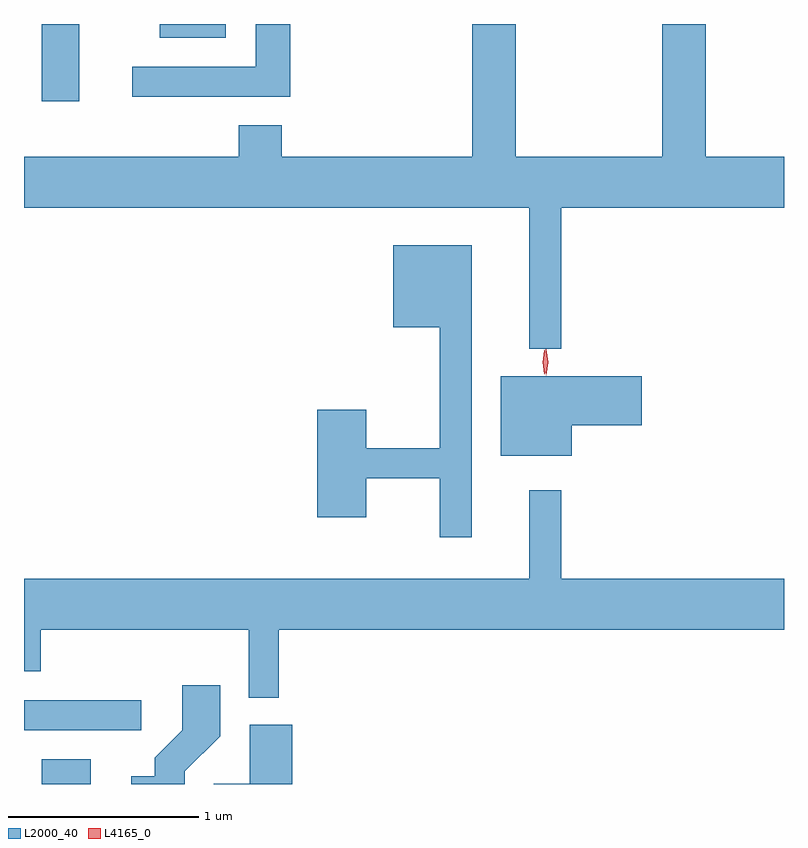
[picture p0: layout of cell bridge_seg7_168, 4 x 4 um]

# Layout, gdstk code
import gdstk
lib = gdstk.Library(unit=1e-6, precision=1e-09)
def R(c, l, rs):  # rectangles x0, y0, x1, y1
    for r in rs: c.add(gdstk.rectangle(r[:2], r[2:], *l))
def P(c, l, *ps):  # polygons
    for p in ps: c.add(gdstk.Polygon(p, *l))
L2000_40 = (2000, 40)
L4165_0 = (4165, 0)

bridge_seg7_168 = lib.new_cell('bridge_seg7_168')
R(bridge_seg7_168, L2000_40, [(1596.506,1671.323,1596.764,1671.454), (1596.412,1671.606,1597.028,1671.764), (1596.506,1674.916,1596.704,1675.323), (1597.126,1675.251,1597.474,1675.323)])
P(bridge_seg7_168, L2000_40, [(1599.239,1674.356),(1600.412,1674.356),(1600.412,1674.624),(1599.999,1674.624),(1599.999,1675.323),(1599.771,1675.323),(1599.771,1674.624),(1598.999,1674.624),(1598.999,1675.323),(1598.771,1675.323),(1598.771,1674.624),(1597.769,1674.624),(1597.769,1674.789),(1597.541,1674.789),(1597.541,1674.624),(1596.412,1674.624),(1596.412,1674.356),(1599.071,1674.356),(1599.071,1673.613),(1599.239,1673.613)],
  [(1597.814,1675.323),(1597.631,1675.323),(1597.631,1675.099),(1596.983,1675.099),(1596.983,1674.941),(1597.814,1674.941)],
  [(1598.769,1674.159),(1598.356,1674.159),(1598.356,1673.726),(1598.601,1673.726),(1598.601,1673.089),(1598.214,1673.089),(1598.214,1673.294),(1597.956,1673.294),(1597.956,1672.726),(1598.214,1672.726),(1598.214,1672.931),(1598.601,1672.931),(1598.601,1672.623),(1598.769,1672.623)],
  [(1599.294,1673.211),(1599.664,1673.211),(1599.664,1673.469),(1598.921,1673.469),(1598.921,1673.051),(1599.294,1673.051)],
  [(1597.754,1672.136),(1600.412,1672.136),(1600.412,1672.404),(1599.239,1672.404),(1599.239,1672.868),(1599.071,1672.868),(1599.071,1672.404),(1596.412,1672.404),(1596.412,1671.916),(1596.499,1671.916),(1596.499,1672.136),(1597.596,1672.136),(1597.596,1671.778),(1597.754,1671.778)],
  [(1597.259,1671.389),(1597.444,1671.574),(1597.444,1671.844),(1597.246,1671.844),(1597.246,1671.607),(1597.101,1671.462),(1597.101,1671.364),(1596.976,1671.364),(1596.976,1671.323),(1597.259,1671.323)],
  [(1597.824,1671.634),(1597.601,1671.634),(1597.601,1671.324),(1597.411,1671.324),(1597.411,1671.323),(1597.824,1671.323)])
P(bridge_seg7_168, L4165_0, [(1599.16,1673.474),(1599.16,1673.474),(1599.15,1673.542),(1599.159,1673.61),(1599.159,1673.61),(1599.16,1673.61),(1599.17,1673.542),(1599.161,1673.474)],
  [(1599.152,1673.48),(1599.151,1673.481),(1599.142,1673.544),(1599.151,1673.606),(1599.152,1673.607),(1599.152,1673.606),(1599.162,1673.544),(1599.152,1673.481)])

lib.write_gds('bridge_seg7_168.gds')
